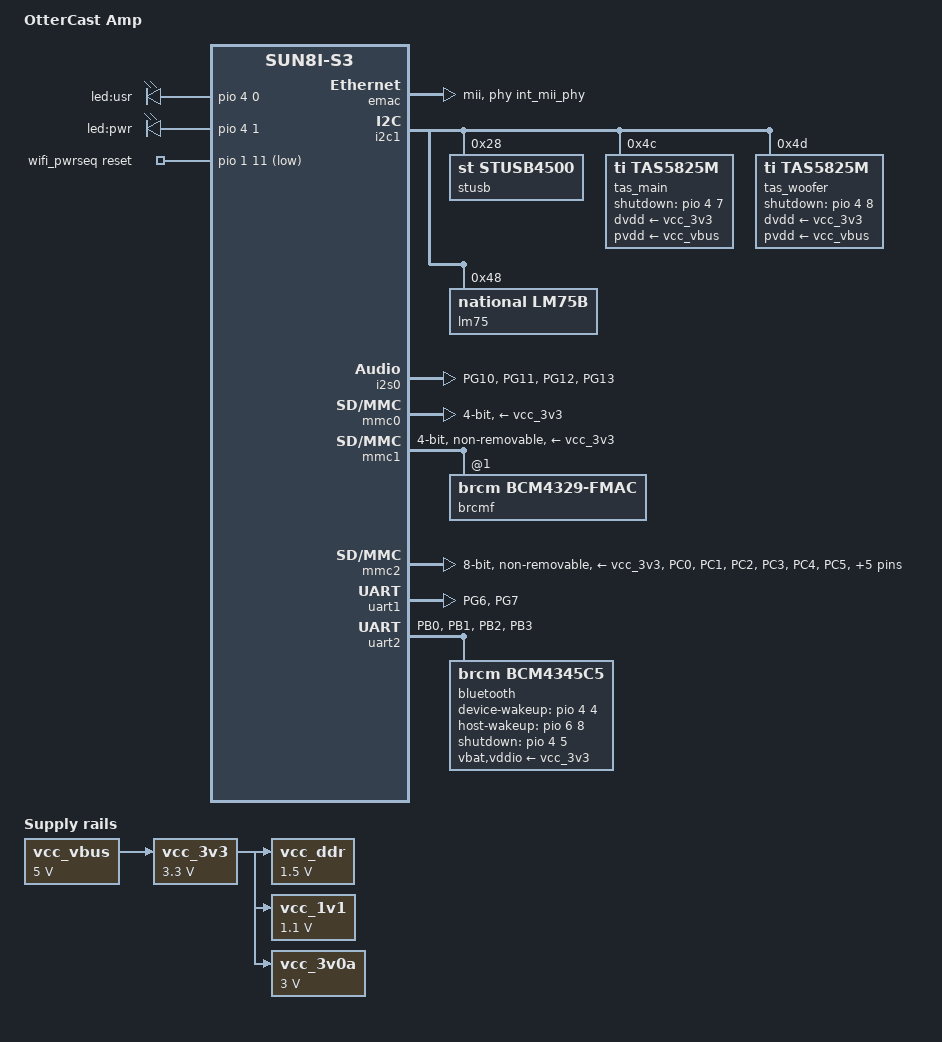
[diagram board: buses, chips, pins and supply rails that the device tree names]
// SPDX-License-Identifier: (GPL-2.0+ OR X11)
/*
 * Copyright 2021 Tobias Schramm <t.schramm@t-sys.eu>
 */

/dts-v1/;
#include "sun8i-v3.dtsi"
#include <dt-bindings/gpio/gpio.h>
#include <dt-bindings/input/input.h>

/ {
	model = "OtterCast Amp";
	compatible = "otter,ottercast-amp", "allwinner,sun8i-s3";

	aliases {
		serial0 = &uart1;
	};

	chosen {
		stdout-path = "serial0:115200n8";
	};

	leds {
		compatible = "gpio-leds";

		led1 {
			label = "led:usr";
			gpios = <&pio 4 0 GPIO_ACTIVE_HIGH>; /* PE0 */
			linux,default-trigger = "heartbeat";
		};

		led2 {
			label = "led:pwr";
			gpios = <&pio 4 1 GPIO_ACTIVE_HIGH>; /* PE1 */
			default-state = "on";
		};
	};

	/*
	 * Power tree
	 * This is a virtual regulator, root of the power tree
	 * Should be replaced with stusb-provided regulator
	 */

	vcc_vbus: vcc-vbus {
		compatible = "regulator-fixed";
		regulator-always-on;
		regulator-boot-on;
		regulator-name = "vcc-vbus";
		regulator-min-microvolt = <5000000>;
		regulator-max-microvolt = <5000000>;
	};

	/* Regulators supplied by vcc_vbus */

	vcc_3v3: vcc-3v3 {
		compatible = "regulator-fixed";
		regulator-always-on;
		regulator-boot-on;
		regulator-name = "vcc-3v3";
		regulator-min-microvolt = <3300000>;
		regulator-max-microvolt = <3300000>;
		vin-supply = <&vcc_vbus>;
	};

	/* Regulators supplied by vcc_3v3 */

	vcc_ddr: vcc-ddr {
		compatible = "regulator-fixed";
		regulator-always-on;
		regulator-boot-on;
		regulator-name = "vcc-ddr";
		regulator-min-microvolt = <1500000>;
		regulator-max-microvolt = <1500000>;
		vin-supply = <&vcc_3v3>;
	};

	vcc_1v1: vcc-1v1 {
		compatible = "regulator-fixed";
		regulator-always-on;
		regulator-name = "vcc-1v1";
		regulator-min-microvolt = <1100000>;
		regulator-max-microvolt = <1100000>;
		vin-supply = <&vcc_3v3>;
	};

	vcc_3v0a: vcc-3v0a {
		compatible = "regulator-fixed";
		regulator-always-on;
		regulator-boot-on;
		regulator-name = "vcc-3v0a";
		regulator-min-microvolt = <3000000>;
		regulator-max-microvolt = <3000000>;
		vin-supply = <&vcc_3v3>;
	};

	sound {
		compatible = "simple-audio-card";
		simple-audio-card,name = "Otter-Audio-Card";
		simple-audio-card,format = "i2s";
		simple-audio-card,bitclock-master = <&dailink0_master>;
		simple-audio-card,frame-master = <&dailink0_master>;
		simple-audio-card,mclk-fs = <256>;
		simple-audio-card,widgets =
			"Speaker", "Speaker";
		simple-audio-card,routing =
			"Speaker", "OUTA",
			"Speaker", "OUTB";
		dailink0_master: simple-audio-card,cpu {
			sound-dai = <&i2s0>;
		};
		simple-audio-card,codec {
			sound-dai = <&tas_main>;
		};
/*
		simple-audio-card,codec {
			sound-dai = <&tas_woofer>;
		};
*/
	};

	wifi_pwrseq: wifi_pwrseq {
		compatible = "mmc-pwrseq-simple";
		reset-gpios = <&pio 1 11 GPIO_ACTIVE_LOW>; /* PB11 WL-PMU-EN */
		clocks = <&rtc 1>;
		clock-names = "ext_clock";
		post-power-on-delay-ms = <200>;
	};
};

&emac {
	phy-handle = <&int_mii_phy>;
	phy-mode = "mii";
	status = "okay";
};

&i2c1 {
	status = "okay";

	pinctrl-names = "default";
	pinctrl-0 = <&i2c1_pe_pins>;

	stusb@28 {
		compatible = "st,stusb4500";
		reg = <0x28>;
	};

	tas_main: tas5825m@4c {
		#sound-dai-cells = <0>;
		compatible = "ti,tas5825m";
		reg = <0x4c>;
		dvdd-supply = <&vcc_3v3>;
		pvdd-supply = <&vcc_vbus>;
		shutdown-gpios = <&pio 4 7 GPIO_ACTIVE_HIGH>;
	};

	tas_woofer: tas5825m@4d {
		#sound-dai-cells = <0>;
		compatible = "ti,tas5825m";
		reg = <0x4d>;
		dvdd-supply = <&vcc_3v3>;
		pvdd-supply = <&vcc_vbus>;
		shutdown-gpios = <&pio 4 8 GPIO_ACTIVE_HIGH>;
	};

	lm75@48 {
		compatible = "national,lm75b";
		reg = <0x48>;
	};
};

&i2s0 {
	status = "okay";

	pinctrl-names = "default";
	pinctrl-0 = <&i2s0_pins>;
};

&mmc0 {
	vmmc-supply = <&vcc_3v3>;
	bus-width = <4>;
	broken-cd;
	status = "okay";
};

&mmc1 {
	vmmc-supply = <&vcc_3v3>;
	vqmmc-supply = <&vcc_3v3>;
	mmc-pwrseq = <&wifi_pwrseq>;
	bus-width = <4>;
	non-removable;
	no-1-8-v;
	cap-sd-highspeed;
	status = "okay";

	brcmf: wifi@1 {
		reg = <1>;
		compatible = "brcm,bcm4329-fmac";
	};
};

&mmc2 {
	vmmc-supply = <&vcc_3v3>;
	vqmmc-supply = <&vcc_3v3>;
	bus-width = <8>;
	non-removable;
	no-1-8-v;
	pinctrl-names = "default";
	pinctrl-0 = <&mmc2_pins>;
	status = "okay";
};

&pio {
	vcc-pd-supply = <&vcc_3v3>;
	vcc-pe-supply = <&vcc_3v3>;
};

&uart1 {
	status = "okay";

	pinctrl-names = "default";
	pinctrl-0 = <&uart1_pg_pins>;
};

&uart2 {
	status = "okay";
	pinctrl-names = "default";
	pinctrl-0 = <&uart2_pins>;
	uart-has-rtscts;

	bluetooth {
		compatible = "brcm,bcm4345c5";
		clocks = <&rtc 1>;
		clock-names = "lpo";
		device-wakeup-gpios = <&pio 4 4 GPIO_ACTIVE_HIGH>;
		host-wakeup-gpios = <&pio 6 8 GPIO_ACTIVE_HIGH>;
		max-speed = <1500000>;
		shutdown-gpios = <&pio 4 5 GPIO_ACTIVE_HIGH>;
		vbat-supply = <&vcc_3v3>;
		vddio-supply = <&vcc_3v3>;
	};
};

&pio {
	uart1_pg_pins: uart1-pg-pins {
		pins = "PG6", "PG7";
		function = "uart1";
	};

	i2s0_pins: i2s0-pins {
		pins = "PG10", "PG11", "PG12", "PG13";
		function = "i2s";
	};

	mmc2_pins: mmc2-pins {
		pins = "PC0", "PC1", "PC2", "PC3",
		       "PC4", "PC5", "PC6", "PC7",
		       "PC8", "PC9", "PC10";
		function = "mmc2";
		drive-strength = <30>;
		bias-pull-up;
	};

	uart2_pins: uart2-pins {
		/* TX, RX, RTS, CTS */
		pins = "PB0", "PB1", "PB2", "PB3";
		function = "uart2";
	};
};
